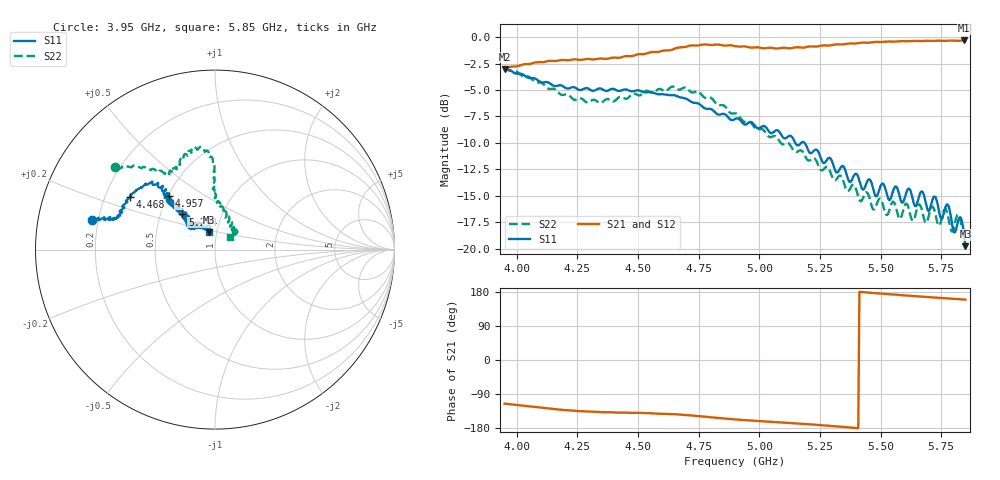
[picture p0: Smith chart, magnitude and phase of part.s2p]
!Keysight Technologies,N5227A,US56070638,A.10.60.06
!Date: Monday, July 16, 2018 20:51:23
!Correction: S11(Full 2 Port(1,2))
!S21(Full 2 Port(1,2))
!S12(Full 2 Port(1,2))
!S22(Full 2 Port(1,2))
!S2P File: Measurements: S11, S21, S12, S22:
# Hz S  dB  R 50
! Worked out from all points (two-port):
!   401 points, 3.95 GHz to 5.85 GHz, reference 50 ohm
!   highest |S21| = -0.32 dB at 5.845 GHz (marker M1); lowest = -3.0 dB at 3.95 GHz (marker M2)
!   |S21| within 3 dB of the highest: start of sweep to end of sweep
!   lowest |S11| = -19.7 dB at 5.85 GHz (marker M3), VSWR 1.23, Z = 46 + j9.11 ohm
!   |S11| at or under -10 dB: 5.148648 GHz to 5.172682 GHz (24.03 MHz wide, 0.466 % of centre); 5.187 GHz to end of sweep
!   |S22| runs from -19.2 to -2.9 dB; largest |S21 - S12| = 0.0018
!   S11 on the Smith chart (normalised r, x): 3.95 GHz: 0.18, +0.12; 4.468 GHz: 0.31, +0.26; 4.957 GHz: 0.50, +0.36; 5.294 GHz: 0.65, +0.27; 5.85 GHz: 0.92, +0.18
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3.95e9  -3.06 166.2  -3.00 -115.1  -3.00 -115.1  -2.85 140.6
4.26825e9  -4.98 160.2  -2.15 -135.1  -2.16 -135.1  -5.82 122.0
4.46775e9  -5.09 148.2  -1.81 -139.4  -1.81 -139.5  -5.55 111.9
4.5865e9  -5.40 139.6  -1.39 -141.8  -1.39 -141.8  -4.90 104.9
4.69575e9  -5.80 132.9  -0.92 -145.3  -0.93 -145.3  -4.77 97.7
4.9e9  -7.73 129.8  -0.86 -156.8  -0.85 -156.8  -7.20 90.8
4.957e9  -8.07 130.7  -0.96 -159.5  -0.97 -159.5  -7.97 90.8
5.21825e9  -10.90 128.9  -0.89 -170.2  -0.89 -170.2  -11.46 86.9
5.29425e9  -11.48 132.9  -0.78 -174.0  -0.78 -174.0  -12.81 77.9
5.51275e9  -13.88 137.9  -0.46 174.7  -0.47 174.6  -16.09 48.6
5.5365e9  -15.40 134.7  -0.41 173.6  -0.43 173.6  -16.35 50.7
5.61725e9  -14.30 133.0  -0.39 169.6  -0.40 169.6  -16.26 39.5
5.64575e9  -15.97 128.2  -0.37 168.4  -0.38 168.3  -16.59 42.3
5.6695e9  -14.56 127.8  -0.38 167.2  -0.37 167.2  -16.21 38.0
5.698e9  -16.44 124.2  -0.35 166.0  -0.36 166.0  -16.98 40.5
5.72175e9  -15.06 122.0  -0.36 164.9  -0.35 164.9  -16.30 37.0
5.75025e9  -17.17 118.5  -0.34 163.6  -0.35 163.7  -17.35 39.9
5.76925e9  -15.96 112.0  -0.35 162.8  -0.35 162.8  -16.25 38.4
5.793e9  -17.35 119.2  -0.33 161.8  -0.34 161.8  -18.34 37.8
5.8215e9  -17.24 101.7  -0.35 160.6  -0.35 160.6  -16.73 39.8
5.84525e9  -18.82 111.1  -0.32 159.6  -0.33 159.6  -19.12 39.0
5.85e9  -19.75 108.0  -0.33 159.4  -0.34 159.4  -19.25 40.3
